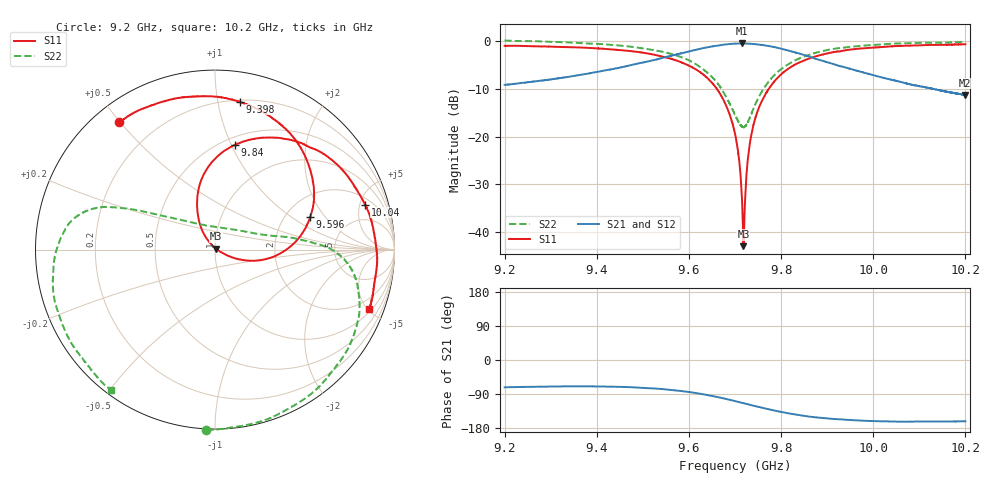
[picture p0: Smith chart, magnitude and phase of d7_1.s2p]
!Agilent Technologies,N5242A,MY51221714,A.09.90.19
!Agilent N5242A: A.09.90.19
!Date: Friday, February 02, 2024 13:23:37
!Correction: S11(Full 2 Port(1,2))
!S21(Full 2 Port(1,2))
!S12(Full 2 Port(1,2))
!S22(Full 2 Port(1,2))
!S2P File: Measurements: S11, S21, S12, S22:
# Hz S  dB  R 50
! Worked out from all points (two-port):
!   16001 points, 9.2 GHz to 10.2 GHz, reference 50 ohm
!   highest |S21| = -0.56 dB at 9.716 GHz (marker M1); lowest = -11.3 dB at 10.2 GHz (marker M2)
!   |S21| within 3 dB of the highest: 9.543 GHz to 9.869 GHz (325.7 MHz wide, 3.36 % of centre); 9.869047 GHz to 9.869068 GHz (21.37 kHz wide, 0.000217 % of centre)
!   lowest |S11| = -42.9 dB at 9.718 GHz (marker M3), VSWR 1.01, Z = 50.5 + j0.525 ohm
!   |S11| at or under -10 dB: 9.660179 GHz to 9.660223 GHz (44.57 kHz wide, 0.000461 % of centre); 9.66 GHz to 9.774 GHz (113.3 MHz wide, 1.17 % of centre)
!   |S22| runs from -18.1 to 0.1 dB; largest |S21 - S12| = 0.027
!   S11 on the Smith chart (normalised r, x): 9.2 GHz: 0.07, +0.50; 9.398 GHz: 0.21, +1.16; 9.596 GHz: 2.71, +1.43; 9.84 GHz: 0.57, +1.04; 10.04 GHz: 2.65, +5.60; 10.2 GHz: 1.20, -5.15
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9.2e9  -1.04 127.0  -9.21 -72.1  -9.18 -73.5  0.06 -92.7
9.366688e9  -1.41 88.4  -7.08 -69.6  -7.06 -70.9  -0.49 -47.5
9.398e9  -1.56 80.6  -6.55 -69.7  -6.52 -71.2  -0.63 -39.5
9.533375e9  -3.09 41.7  -3.81 -75.9  -3.77 -77.2  -2.11 -9.9
9.596312e9  -5.03 18.8  -2.31 -83.9  -2.29 -85.3  -3.91 0.7
9.661938e9  -10.22 -8.8  -0.98 -97.7  -0.97 -99.1  -8.85 12.0
9.7e9  -19.43 -24.2  -0.59 -108.5  -0.56 -109.9  -15.45 39.4
9.708938e9  -24.91 -25.6  -0.57 -111.2  -0.53 -112.6  -17.15 56.4
9.7155e9  -34.02 -13.8  -0.56 -113.1  -0.53 -114.6  -17.96 73.8
9.718375e9  -42.92 46.6  -0.57 -114.0  -0.54 -115.5  -18.11 82.2
9.721438e9  -34.18 115.3  -0.57 -114.9  -0.53 -116.4  -17.89 91.7
9.726625e9  -25.92 127.1  -0.59 -116.5  -0.55 -118.0  -17.27 105.6
9.731875e9  -21.64 126.8  -0.61 -118.1  -0.58 -119.6  -16.12 117.3
9.750125e9  -14.43 118.4  -0.77 -123.6  -0.74 -125.1  -12.03 138.7
9.788e9  -8.19 101.6  -1.38 -134.0  -1.37 -135.5  -6.92 152.0
9.840188e9  -4.51 79.0  -2.67 -145.6  -2.67 -147.0  -3.66 158.7
9.866688e9  -3.51 68.5  -3.48 -150.2  -3.45 -151.5  -2.76 162.1
9.941188e9  -1.95 43.3  -5.61 -157.7  -5.60 -159.1  -1.36 174.5
1.003338e10  -1.20 17.4  -8.00 -162.1  -7.98 -163.6  -0.65 -166.6
1.003556e10  -1.18 16.7  -8.05 -162.1  -8.03 -163.7  -0.63 -166.1
1.019981e10  -0.72 -20.8  -11.32 -161.6  -11.29 -163.2  -0.23 -126.4
1.02e10  -0.72 -20.9  -11.31 -161.7  -11.29 -163.3  -0.23 -126.4
